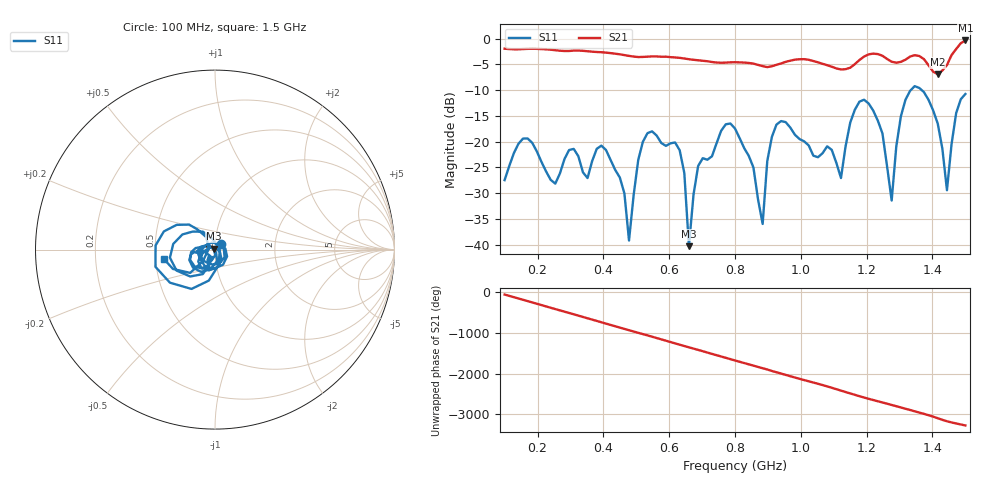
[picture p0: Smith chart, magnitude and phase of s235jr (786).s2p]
! NanoVNA-App
! Date: 2025-09-25 15:10:17
! Start: 100MHz Stop: 1,5GHz Points: 101
! S-Parameter data: F S11 S21 S12 S22
# Hz S RI R 50
!  Frequency  S11_Real  S11_Imag  S21_Real  S21_Imag  S12_Real  S12_Imag  S22_Real  S22_Imag
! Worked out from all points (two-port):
!   101 points, 100 MHz to 1.5 GHz, reference 50 ohm
!   highest |S21| = -0.37 dB at 1.5 GHz (marker M1); lowest = -6.9 dB at 1.416 GHz (marker M2)
!   |S21| within 3 dB of the highest: start of sweep to 478.1 MHz; 1.196 GHz to 1.249 GHz (52.57 MHz wide, 4.3 % of centre) (the widest 2 of 4)
!   lowest |S11| = -40.3 dB at 660 MHz (marker M3), VSWR 1.02, Z = 49.2 + j0.543 ohm
!   |S11| at or under -10 dB: start of sweep to 1.334 GHz; 1.367 GHz to end of sweep
!   S12 and S22 are empty: the file has one direction only
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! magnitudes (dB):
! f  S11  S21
! 100 MHz  -27.5  -2.0
! 156 MHz  -19.4  -2.0
! 338 MHz  -26.0  -2.4
! 408 MHz  -21.6  -2.7
! 478 MHz  -39.2  -3.4
! 520 MHz  -20.0  -3.6
! 576 MHz  -20.3  -3.5
! 632 MHz  -21.7  -3.7
! 660 MHz  -40.3  -4.0
! 688 MHz  -24.7  -4.2
! 800 MHz  -17.5  -4.6
! 884 MHz  -36.0  -5.4
! 926 MHz  -16.7  -5.1
! 1.038 GHz  -22.7  -4.4
! 1.122 GHz  -27.1  -6.0
! 1.192 GHz  -11.9  -3.5
! 1.248 GHz  -18.4  -3.3
! 1.276 GHz  -31.4  -4.5
! 1.332 GHz  -10.1  -3.5
! 1.416 GHz  -16.5  -6.9
! 1.444 GHz  -29.4  -5.1
! 1.5 GHz  -10.8  -0.4
